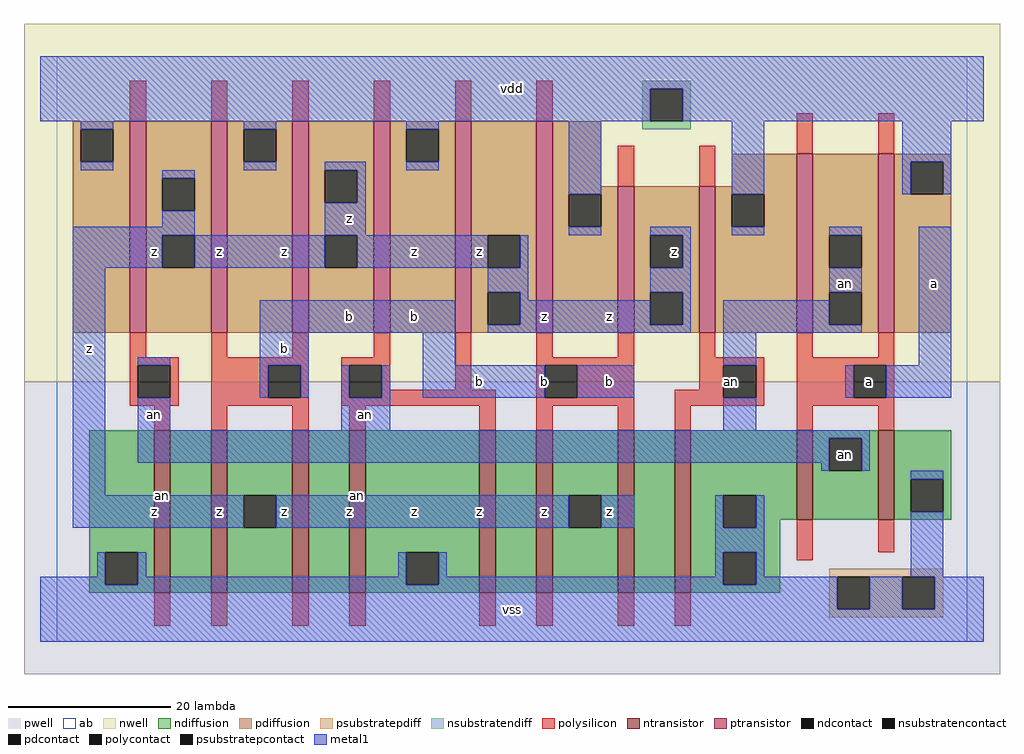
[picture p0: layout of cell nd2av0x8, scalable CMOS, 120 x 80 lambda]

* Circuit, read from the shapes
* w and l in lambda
.subckt nd2av0x8 a an b vdd vss z
M1 n1 an vss vss nfet w=20 l=2
M2 z b n1 vss nfet w=20 l=2
M3 n2 b z vss nfet w=20 l=2
M4 vss an n2 vss nfet w=20 l=2
M5 n3 an vss vss nfet w=20 l=2
M6 z b n3 vss nfet w=20 l=2
M7 n4 b z vss nfet w=20 l=2
M8 vss an n4 vss nfet w=20 l=2
M9 an a vss vss nfet w=11 l=2 m=2
M10 z an vdd vdd pfet w=26 l=2 m=3
M11 vdd b z vdd pfet w=26 l=2 m=3
M12 z b vdd vdd pfet w=18 l=2
M13 vdd an z vdd pfet w=18 l=2
M14 an a vdd vdd pfet w=22 l=2 m=2
.ends

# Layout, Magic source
magic
tech scmos
<< ab >>
rect 0 0 112 72
<< pwell >>
rect -4 -4 116 32
<< nwell >>
rect -4 32 116 76
<< polysilicon >>
rect 9 64 11 69
rect 19 64 21 69
rect 29 64 31 69
rect 39 64 41 69
rect 49 64 51 69
rect 59 64 61 69
rect 69 56 71 61
rect 79 56 81 61
rect 91 60 93 65
rect 101 60 103 65
rect 9 35 11 38
rect 19 35 21 38
rect 29 35 31 38
rect 39 35 41 38
rect 9 34 15 35
rect 9 30 10 34
rect 14 30 15 34
rect 9 29 15 30
rect 19 34 31 35
rect 19 30 26 34
rect 30 30 31 34
rect 19 29 31 30
rect 35 34 41 35
rect 35 30 36 34
rect 40 31 41 34
rect 49 31 51 38
rect 59 35 61 38
rect 69 35 71 38
rect 59 34 71 35
rect 40 30 54 31
rect 35 29 54 30
rect 12 26 14 29
rect 19 26 21 29
rect 29 26 31 29
rect 36 26 38 29
rect 52 26 54 29
rect 59 30 60 34
rect 64 30 71 34
rect 79 35 81 38
rect 91 35 93 38
rect 101 35 103 38
rect 79 34 87 35
rect 79 31 82 34
rect 59 29 71 30
rect 59 26 61 29
rect 69 26 71 29
rect 76 30 82 31
rect 86 30 87 34
rect 76 29 87 30
rect 91 34 103 35
rect 91 30 98 34
rect 102 30 103 34
rect 91 29 103 30
rect 76 26 78 29
rect 91 26 93 29
rect 101 26 103 29
rect 91 10 93 15
rect 101 11 103 15
rect 12 2 14 6
rect 19 2 21 6
rect 29 2 31 6
rect 36 2 38 6
rect 52 2 54 6
rect 59 2 61 6
rect 69 2 71 6
rect 76 2 78 6
<< ndiffusion >>
rect 4 11 12 26
rect 4 7 6 11
rect 10 7 12 11
rect 4 6 12 7
rect 14 6 19 26
rect 21 18 29 26
rect 21 14 23 18
rect 27 14 29 18
rect 21 6 29 14
rect 31 6 36 26
rect 38 11 52 26
rect 38 7 43 11
rect 47 7 52 11
rect 38 6 52 7
rect 54 6 59 26
rect 61 18 69 26
rect 61 14 63 18
rect 67 14 69 18
rect 61 6 69 14
rect 71 6 76 26
rect 78 18 91 26
rect 78 14 82 18
rect 86 15 91 18
rect 93 25 101 26
rect 93 21 95 25
rect 99 21 101 25
rect 93 15 101 21
rect 103 20 110 26
rect 103 16 105 20
rect 109 16 110 20
rect 103 15 110 16
rect 86 14 89 15
rect 78 11 89 14
rect 78 7 82 11
rect 86 7 89 11
rect 78 6 89 7
<< pdiffusion >>
rect 2 63 9 64
rect 2 59 3 63
rect 7 59 9 63
rect 2 38 9 59
rect 11 57 19 64
rect 11 53 13 57
rect 17 53 19 57
rect 11 50 19 53
rect 11 46 13 50
rect 17 46 19 50
rect 11 38 19 46
rect 21 63 29 64
rect 21 59 23 63
rect 27 59 29 63
rect 21 38 29 59
rect 31 58 39 64
rect 31 54 33 58
rect 37 54 39 58
rect 31 50 39 54
rect 31 46 33 50
rect 37 46 39 50
rect 31 38 39 46
rect 41 63 49 64
rect 41 59 43 63
rect 47 59 49 63
rect 41 38 49 59
rect 51 50 59 64
rect 51 46 53 50
rect 57 46 59 50
rect 51 43 59 46
rect 51 39 53 43
rect 57 39 59 43
rect 51 38 59 39
rect 61 56 67 64
rect 83 56 91 60
rect 61 55 69 56
rect 61 51 63 55
rect 67 51 69 55
rect 61 38 69 51
rect 71 50 79 56
rect 71 46 73 50
rect 77 46 79 50
rect 71 43 79 46
rect 71 39 73 43
rect 77 39 79 43
rect 71 38 79 39
rect 81 55 91 56
rect 81 51 83 55
rect 87 51 91 55
rect 81 38 91 51
rect 93 50 101 60
rect 93 46 95 50
rect 99 46 101 50
rect 93 43 101 46
rect 93 39 95 43
rect 99 39 101 43
rect 93 38 101 39
rect 103 59 110 60
rect 103 55 105 59
rect 109 55 110 59
rect 103 38 110 55
<< metal1 >>
rect -2 68 114 72
rect -2 64 73 68
rect 77 64 114 68
rect 3 63 7 64
rect 3 58 7 59
rect 23 63 27 64
rect 43 63 47 64
rect 23 58 27 59
rect 33 58 38 59
rect 43 58 47 59
rect 13 57 17 58
rect 13 51 17 53
rect 2 50 17 51
rect 37 54 38 58
rect 33 50 38 54
rect 63 55 67 64
rect 83 55 87 64
rect 104 59 110 64
rect 104 55 105 59
rect 109 55 110 59
rect 63 50 67 51
rect 73 50 78 51
rect 83 50 87 51
rect 95 50 99 51
rect 2 46 13 50
rect 17 46 33 50
rect 37 46 53 50
rect 57 46 58 50
rect 2 18 6 46
rect 53 43 58 46
rect 25 38 49 42
rect 57 42 58 43
rect 77 46 78 50
rect 73 43 78 46
rect 57 39 73 42
rect 77 39 78 43
rect 95 43 99 46
rect 53 38 78 39
rect 82 39 95 42
rect 82 38 99 39
rect 10 34 14 35
rect 25 34 31 38
rect 45 34 49 38
rect 82 34 86 38
rect 106 34 110 51
rect 25 30 26 34
rect 30 30 31 34
rect 35 30 36 34
rect 40 30 41 34
rect 45 30 60 34
rect 64 30 71 34
rect 97 30 98 34
rect 102 30 110 34
rect 10 26 14 30
rect 35 26 41 30
rect 82 26 86 30
rect 10 25 100 26
rect 10 22 95 25
rect 94 21 95 22
rect 99 21 100 25
rect 105 20 109 21
rect 2 14 23 18
rect 27 14 63 18
rect 67 14 71 18
rect 81 14 82 18
rect 86 14 87 18
rect 81 11 87 14
rect 5 8 6 11
rect -2 7 6 8
rect 10 8 11 11
rect 42 8 43 11
rect 10 7 43 8
rect 47 8 48 11
rect 81 8 82 11
rect 47 7 82 8
rect 86 8 87 11
rect 105 8 109 16
rect 86 7 96 8
rect -2 4 96 7
rect 100 4 104 8
rect 108 4 114 8
rect -2 0 114 4
<< ntransistor >>
rect 12 6 14 26
rect 19 6 21 26
rect 29 6 31 26
rect 36 6 38 26
rect 52 6 54 26
rect 59 6 61 26
rect 69 6 71 26
rect 76 6 78 26
rect 91 15 93 26
rect 101 15 103 26
<< ptransistor >>
rect 9 38 11 64
rect 19 38 21 64
rect 29 38 31 64
rect 39 38 41 64
rect 49 38 51 64
rect 59 38 61 64
rect 69 38 71 56
rect 79 38 81 56
rect 91 38 93 60
rect 101 38 103 60
<< polycontact >>
rect 10 30 14 34
rect 26 30 30 34
rect 36 30 40 34
rect 60 30 64 34
rect 82 30 86 34
rect 98 30 102 34
<< ndcontact >>
rect 6 7 10 11
rect 23 14 27 18
rect 43 7 47 11
rect 63 14 67 18
rect 82 14 86 18
rect 95 21 99 25
rect 105 16 109 20
rect 82 7 86 11
<< pdcontact >>
rect 3 59 7 63
rect 13 53 17 57
rect 13 46 17 50
rect 23 59 27 63
rect 33 54 37 58
rect 33 46 37 50
rect 43 59 47 63
rect 53 46 57 50
rect 53 39 57 43
rect 63 51 67 55
rect 73 46 77 50
rect 73 39 77 43
rect 83 51 87 55
rect 95 46 99 50
rect 95 39 99 43
rect 105 55 109 59
<< psubstratepcontact >>
rect 96 4 100 8
rect 104 4 108 8
<< nsubstratencontact >>
rect 73 64 77 68
<< psubstratepdiff >>
rect 95 8 109 9
rect 95 4 96 8
rect 100 4 104 8
rect 108 4 109 8
rect 95 3 109 4
<< nsubstratendiff >>
rect 72 68 78 69
rect 72 64 73 68
rect 77 64 78 68
rect 72 63 78 64
<< labels >>
rlabel ntransistor 13 18 13 18 6 an
rlabel ntransistor 37 18 37 18 6 an
rlabel polycontact 83 32 83 32 6 an
rlabel metal1 12 16 12 16 6 z
rlabel metal1 12 28 12 28 6 an
rlabel metal1 4 36 4 36 6 z
rlabel metal1 12 48 12 48 6 z
rlabel metal1 28 16 28 16 6 z
rlabel metal1 36 16 36 16 6 z
rlabel metal1 20 16 20 16 6 z
rlabel metal1 38 28 38 28 6 an
rlabel metal1 36 40 36 40 6 b
rlabel metal1 28 36 28 36 6 b
rlabel metal1 20 48 20 48 6 z
rlabel metal1 36 52 36 52 6 z
rlabel metal1 28 48 28 48 6 z
rlabel metal1 56 4 56 4 6 vss
rlabel metal1 52 16 52 16 6 z
rlabel metal1 60 16 60 16 6 z
rlabel metal1 44 16 44 16 6 z
rlabel metal1 52 32 52 32 6 b
rlabel metal1 60 32 60 32 6 b
rlabel metal1 44 40 44 40 6 b
rlabel metal1 60 40 60 40 6 z
rlabel metal1 44 48 44 48 6 z
rlabel metal1 52 48 52 48 6 z
rlabel metal1 56 68 56 68 6 vdd
rlabel metal1 68 16 68 16 6 z
rlabel polycontact 84 32 84 32 6 an
rlabel metal1 68 32 68 32 6 b
rlabel metal1 68 40 68 40 6 z
rlabel pdcontact 76 48 76 48 6 z
rlabel ndcontact 97 23 97 23 6 an
rlabel polycontact 100 32 100 32 6 a
rlabel metal1 108 44 108 44 6 a
rlabel metal1 97 44 97 44 6 an
<< end >>
